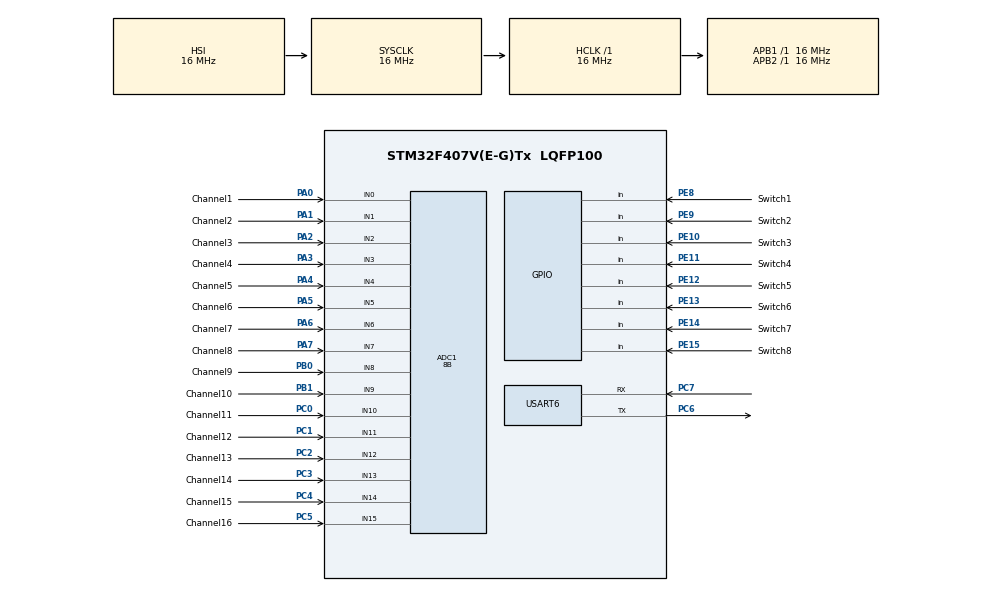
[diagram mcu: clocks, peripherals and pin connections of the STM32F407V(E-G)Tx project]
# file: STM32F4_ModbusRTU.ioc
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ADC1.Channel-0\#ChannelRegularConversion=ADC_CHANNEL_0
ADC1.Channel-1\#ChannelRegularConversion=ADC_CHANNEL_1
ADC1.Channel-10\#ChannelRegularConversion=ADC_CHANNEL_10
ADC1.Channel-11\#ChannelRegularConversion=ADC_CHANNEL_11
ADC1.Channel-12\#ChannelRegularConversion=ADC_CHANNEL_12
ADC1.Channel-13\#ChannelRegularConversion=ADC_CHANNEL_13
ADC1.Channel-14\#ChannelRegularConversion=ADC_CHANNEL_14
ADC1.Channel-15\#ChannelRegularConversion=ADC_CHANNEL_15
ADC1.Channel-2\#ChannelRegularConversion=ADC_CHANNEL_2
ADC1.Channel-3\#ChannelRegularConversion=ADC_CHANNEL_3
ADC1.Channel-4\#ChannelRegularConversion=ADC_CHANNEL_4
ADC1.Channel-5\#ChannelRegularConversion=ADC_CHANNEL_5
ADC1.Channel-6\#ChannelRegularConversion=ADC_CHANNEL_6
ADC1.Channel-7\#ChannelRegularConversion=ADC_CHANNEL_7
ADC1.Channel-8\#ChannelRegularConversion=ADC_CHANNEL_8
ADC1.Channel-9\#ChannelRegularConversion=ADC_CHANNEL_9
ADC1.ClockPrescaler=ADC_CLOCK_SYNC_PCLK_DIV8
ADC1.ContinuousConvMode=ENABLE
ADC1.DMAContinuousRequests=ENABLE
ADC1.NbrOfConversion=16
ADC1.NbrOfConversionFlag=1
ADC1.Rank-0\#ChannelRegularConversion=1
ADC1.Rank-1\#ChannelRegularConversion=2
ADC1.Rank-10\#ChannelRegularConversion=11
ADC1.Rank-11\#ChannelRegularConversion=12
ADC1.Rank-12\#ChannelRegularConversion=13
ADC1.Rank-13\#ChannelRegularConversion=14
ADC1.Rank-14\#ChannelRegularConversion=15
ADC1.Rank-15\#ChannelRegularConversion=16
ADC1.Rank-2\#ChannelRegularConversion=3
ADC1.Rank-3\#ChannelRegularConversion=4
ADC1.Rank-4\#ChannelRegularConversion=5
ADC1.Rank-5\#ChannelRegularConversion=6
ADC1.Rank-6\#ChannelRegularConversion=7
ADC1.Rank-7\#ChannelRegularConversion=8
ADC1.Rank-8\#ChannelRegularConversion=9
ADC1.Rank-9\#ChannelRegularConversion=10
ADC1.Resolution=ADC_RESOLUTION_8B
ADC1.SamplingTime-0\#ChannelRegularConversion=ADC_SAMPLETIME_480CYCLES
ADC1.SamplingTime-1\#ChannelRegularConversion=ADC_SAMPLETIME_480CYCLES
ADC1.SamplingTime-10\#ChannelRegularConversion=ADC_SAMPLETIME_480CYCLES
ADC1.SamplingTime-11\#ChannelRegularConversion=ADC_SAMPLETIME_480CYCLES
ADC1.SamplingTime-12\#ChannelRegularConversion=ADC_SAMPLETIME_480CYCLES
ADC1.SamplingTime-13\#ChannelRegularConversion=ADC_SAMPLETIME_480CYCLES
ADC1.SamplingTime-14\#ChannelRegularConversion=ADC_SAMPLETIME_480CYCLES
ADC1.SamplingTime-15\#ChannelRegularConversion=ADC_SAMPLETIME_480CYCLES
ADC1.SamplingTime-2\#ChannelRegularConversion=ADC_SAMPLETIME_480CYCLES
ADC1.SamplingTime-3\#ChannelRegularConversion=ADC_SAMPLETIME_480CYCLES
ADC1.SamplingTime-4\#ChannelRegularConversion=ADC_SAMPLETIME_480CYCLES
ADC1.SamplingTime-5\#ChannelRegularConversion=ADC_SAMPLETIME_480CYCLES
ADC1.SamplingTime-6\#ChannelRegularConversion=ADC_SAMPLETIME_480CYCLES
ADC1.SamplingTime-7\#ChannelRegularConversion=ADC_SAMPLETIME_480CYCLES
ADC1.SamplingTime-8\#ChannelRegularConversion=ADC_SAMPLETIME_480CYCLES
ADC1.SamplingTime-9\#ChannelRegularConversion=ADC_SAMPLETIME_480CYCLES
ADC1.ScanConvMode=ENABLE
ADC1.master=1
Dma.ADC1.1.Direction=DMA_PERIPH_TO_MEMORY
Dma.ADC1.1.FIFOMode=DMA_FIFOMODE_DISABLE
Dma.ADC1.1.Instance=DMA2_Stream0
Dma.ADC1.1.MemDataAlignment=DMA_MDATAALIGN_BYTE
Dma.ADC1.1.MemInc=DMA_MINC_ENABLE
Dma.ADC1.1.Mode=DMA_CIRCULAR
Dma.ADC1.1.PeriphDataAlignment=DMA_PDATAALIGN_BYTE
Dma.ADC1.1.PeriphInc=DMA_PINC_DISABLE
Dma.ADC1.1.Priority=DMA_PRIORITY_LOW
Dma.Request0=USART6_RX
Dma.Request1=ADC1
Dma.USART6_RX.0.Direction=DMA_PERIPH_TO_MEMORY
Dma.USART6_RX.0.FIFOMode=DMA_FIFOMODE_DISABLE
Dma.USART6_RX.0.Instance=DMA2_Stream1
Dma.USART6_RX.0.MemDataAlignment=DMA_MDATAALIGN_BYTE
Dma.USART6_RX.0.MemInc=DMA_MINC_ENABLE
Dma.USART6_RX.0.Mode=DMA_CIRCULAR
Dma.USART6_RX.0.PeriphDataAlignment=DMA_PDATAALIGN_BYTE
Dma.USART6_RX.0.PeriphInc=DMA_PINC_DISABLE
Dma.USART6_RX.0.Priority=DMA_PRIORITY_LOW
FREERTOS.Tasks01=ModbusTransTask,0,128,ModbusTransThread,Default,NULL,Dynamic,NULL,NULL;ModbusSetTask,0,128,ModbusSetThread,Default,NULL,Dynamic,NULL,NULL
Mcu.Family=STM32F4
Mcu.Name=STM32F407V(E-G)Tx
Mcu.Package=LQFP100
NVIC.DMA2_Stream0_IRQn=true\:5\:0\:false\:false\:true\:true\:false\:true
NVIC.DMA2_Stream1_IRQn=true\:5\:0\:false\:false\:true\:true\:false\:true
NVIC.PriorityGroup=NVIC_PRIORITYGROUP_4
NVIC.USART6_IRQn=true\:5\:0\:false\:false\:true\:true\:true\:true
PA0-WKUP.GPIO_Label=Channel1
PA0-WKUP.Signal=ADCx_IN0
PA1.GPIO_Label=Channel2
PA1.Signal=ADCx_IN1
PA2.GPIO_Label=Channel3
PA2.Signal=ADCx_IN2
PA3.GPIO_Label=Channel4
PA3.Signal=ADCx_IN3
PA4.GPIO_Label=Channel5
PA4.Signal=ADCx_IN4
PA5.GPIO_Label=Channel6
PA5.Signal=ADCx_IN5
PA6.GPIO_Label=Channel7
PA6.Signal=ADCx_IN6
PA7.GPIO_Label=Channel8
PA7.Signal=ADCx_IN7
PB0.GPIO_Label=Channel9
PB0.Signal=ADCx_IN8
PB1.GPIO_Label=Channel10
PB1.Signal=ADCx_IN9
PC0.GPIO_Label=Channel11
PC0.Signal=ADCx_IN10
PC1.GPIO_Label=Channel12
PC1.Signal=ADCx_IN11
PC2.GPIO_Label=Channel13
PC2.Signal=ADCx_IN12
PC3.GPIO_Label=Channel14
PC3.Signal=ADCx_IN13
PC4.GPIO_Label=Channel15
PC4.Signal=ADCx_IN14
PC5.GPIO_Label=Channel16
PC5.Signal=ADCx_IN15
PC6.Mode=Asynchronous
PC6.Signal=USART6_TX
PC7.Mode=Asynchronous
PC7.Signal=USART6_RX
PE10.GPIO_Label=Switch3
PE10.Signal=GPIO_Input
PE11.GPIO_Label=Switch4
PE11.Signal=GPIO_Input
PE12.GPIO_Label=Switch5
PE12.Signal=GPIO_Input
PE13.GPIO_Label=Switch6
PE13.Signal=GPIO_Input
PE14.GPIO_Label=Switch7
PE14.Signal=GPIO_Input
PE15.GPIO_Label=Switch8
PE15.Signal=GPIO_Input
PE8.GPIO_Label=Switch1
PE8.Signal=GPIO_Input
PE9.GPIO_Label=Switch2
PE9.Signal=GPIO_Input
ProjectManager.HeapSize=0x200
ProjectManager.StackSize=0x400
ProjectManager.TargetToolchain=STM32CubeIDE
RCC.AHBFreq_Value=16000000
RCC.APB1Freq_Value=16000000
RCC.APB2Freq_Value=16000000
RCC.CortexFreq_Value=16000000
RCC.HSE_VALUE=25000000
RCC.HSI_VALUE=16000000
RCC.LSE_VALUE=32768
RCC.SYSCLKFreq_VALUE=16000000
RCC.VCOOutputFreq_Value=192000000
SH.ADCx_IN0.0=ADC1_IN0,IN0
SH.ADCx_IN1.0=ADC1_IN1,IN1
SH.ADCx_IN10.0=ADC1_IN10,IN10
SH.ADCx_IN11.0=ADC1_IN11,IN11
SH.ADCx_IN12.0=ADC1_IN12,IN12
SH.ADCx_IN13.0=ADC1_IN13,IN13
SH.ADCx_IN14.0=ADC1_IN14,IN14
SH.ADCx_IN15.0=ADC1_IN15,IN15
SH.ADCx_IN2.0=ADC1_IN2,IN2
SH.ADCx_IN3.0=ADC1_IN3,IN3
SH.ADCx_IN4.0=ADC1_IN4,IN4
SH.ADCx_IN5.0=ADC1_IN5,IN5
SH.ADCx_IN6.0=ADC1_IN6,IN6
SH.ADCx_IN7.0=ADC1_IN7,IN7
SH.ADCx_IN8.0=ADC1_IN8,IN8
SH.ADCx_IN9.0=ADC1_IN9,IN9
USART6.VirtualMode=VM_ASYNC
VP_FREERTOS_VS_CMSIS_V1.Mode=CMSIS_V1
board=custom

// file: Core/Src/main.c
/* USER CODE BEGIN Header */
/**
  ******************************************************************************
  * @file           : main.c
  * @brief          : Main program body
  ******************************************************************************
  * @attention
  *
  * <h2><center>&copy; Copyright (c) 2020 STMicroelectronics.
  * All rights reserved.</center></h2>
  *
  * This software component is licensed by ST under BSD 3-Clause license,
  * the "License"; You may not use this file except in compliance with the
  * License. You may obtain a copy of the License at:
  *                        opensource.org/licenses/BSD-3-Clause
  *
  ******************************************************************************
  */
/* USER CODE END Header */

#include "main.h"
#include "cmsis_os.h"

/* USER CODE BEGIN Includes */
#include "modbus.h"
#include "Delay.h"
#include <stdio.h>
#include <math.h>
/* USER CODE END Includes */

/* USER CODE BEGIN PTD */

uint8_t rxbuffer[8];

/* USER CODE END PTD */

/* USER CODE BEGIN PD */
typedef enum
{
  Switch_Off    = 0x00U,
  Switch_On       = 0x01U,
} SwitchStatus;
/* USER CODE END PD */

ADC_HandleTypeDef hadc1;
DMA_HandleTypeDef hdma_adc1;

UART_HandleTypeDef huart6;
DMA_HandleTypeDef hdma_usart6_rx;

osThreadId ModbusTransTaskHandle;
osThreadId ModbusSetTaskHandle;
/* USER CODE BEGIN PV */
uint8_t SLAVEID[8];
uint8_t ADCVALUE[16];
uint8_t slaveID = 1;
uint8_t SwitchValue[8];
/* USER CODE END PV */

void SystemClock_Config(void);
static void MX_GPIO_Init(void);
static void MX_DMA_Init(void);
static void MX_USART6_UART_Init(void);
static void MX_ADC1_Init(void);
void ModbusTransThread(void const * argument);
void ModbusSetThread(void const * argument);

/* USER CODE BEGIN 0 */
#ifdef __cplusplus
 extern "C" {
#endif

 int __io_putchar(int ch)
 {
     HAL_UART_Transmit(&huart6, (uint8_t *)&ch, 1, 0xFFFF);
     return ch;
 }

#ifdef __cplusplus
}
#endif
/* USER CODE END 0 */

int main(void)
{

  /* MCU Configuration--------------------------------------------------------*/

  /* Reset of all peripherals, Initializes the Flash interface and the Systick. */
  HAL_Init();

  /* Configure the system clock */
  SystemClock_Config();

  /* Initialize all configured peripherals */
  MX_GPIO_Init();
  MX_DMA_Init();
  MX_USART6_UART_Init();
  MX_ADC1_Init();
  /* USER CODE BEGIN 2 */
  printf("System start\r\n");
  delay_init(16);

  //TODO:
  SwitchValue[0] = HAL_GPIO_ReadPin(GPIOE, Switch1_Pin);
  SwitchValue[1] = HAL_GPIO_ReadPin(GPIOE, Switch2_Pin);
  SwitchValue[2] = HAL_GPIO_ReadPin(GPIOE, Switch3_Pin);
  SwitchValue[3] = HAL_GPIO_ReadPin(GPIOE, Switch4_Pin);
  SwitchValue[4] = HAL_GPIO_ReadPin(GPIOE, Switch5_Pin);
  SwitchValue[5] = HAL_GPIO_ReadPin(GPIOE, Switch6_Pin);
  SwitchValue[6] = HAL_GPIO_ReadPin(GPIOE, Switch7_Pin);
  SwitchValue[7] = HAL_GPIO_ReadPin(GPIOE, Switch8_Pin);

  //TODO:
//  for(uint8_t i = 0; i <8; i++)
//  {
//	  slaveID += SwitchValue[i] * pow(2,i);
//  }

  HAL_ADC_Start_DMA(&hadc1, (uint32_t*)&ADCVALUE, 16);

  delay_ms(100);

 //ADCstatus =  HAL_ADC_Stop_DMA(&hadc1);

  HAL_UART_Receive_DMA(&huart6, rxbuffer, 8);

  /* USER CODE END 2 */

  /* Create the thread(s) */
  /* definition and creation of ModbusTransTask */
  osThreadDef(ModbusTransTask, ModbusTransThread, osPriorityNormal, 0, 128);
  ModbusTransTaskHandle = osThreadCreate(osThread(ModbusTransTask), NULL);

  /* definition and creation of ModbusSetTask */
  osThreadDef(ModbusSetTask, ModbusSetThread, osPriorityNormal, 0, 128);
  ModbusSetTaskHandle = osThreadCreate(osThread(ModbusSetTask), NULL);

  /* USER CODE BEGIN RTOS_THREADS */
  ModBus_Init();
  ModBus_SetAddress(slaveID);
  /* add threads, ... */
  /* USER CODE END RTOS_THREADS */

  /* Start scheduler */
  osKernelStart();

  /* We should never get here as control is now taken by the scheduler */
  /* Infinite loop */
  while (1)
  {

  }
}

void SystemClock_Config(void)
{
  RCC_OscInitTypeDef RCC_OscInitStruct = {0};
  RCC_ClkInitTypeDef RCC_ClkInitStruct = {0};

  /** Configure the main internal regulator output voltage
  */
  __HAL_RCC_PWR_CLK_ENABLE();
  __HAL_PWR_VOLTAGESCALING_CONFIG(PWR_REGULATOR_VOLTAGE_SCALE1);
  /** Initializes the CPU, AHB and APB busses clocks
  */
  RCC_OscInitStruct.OscillatorType = RCC_OSCILLATORTYPE_HSI;
  RCC_OscInitStruct.HSIState = RCC_HSI_ON;
  RCC_OscInitStruct.HSICalibrationValue = RCC_HSICALIBRATION_DEFAULT;
  RCC_OscInitStruct.PLL.PLLState = RCC_PLL_NONE;
  if (HAL_RCC_OscConfig(&RCC_OscInitStruct) != HAL_OK)
  {
    Error_Handler();
  }
  /** Initializes the CPU, AHB and APB busses clocks
  */
  RCC_ClkInitStruct.ClockType = RCC_CLOCKTYPE_HCLK|RCC_CLOCKTYPE_SYSCLK
                              |RCC_CLOCKTYPE_PCLK1|RCC_CLOCKTYPE_PCLK2;
  RCC_ClkInitStruct.SYSCLKSource = RCC_SYSCLKSOURCE_HSI;
  RCC_ClkInitStruct.AHBCLKDivider = RCC_SYSCLK_DIV1;
  RCC_ClkInitStruct.APB1CLKDivider = RCC_HCLK_DIV1;
  RCC_ClkInitStruct.APB2CLKDivider = RCC_HCLK_DIV1;

  if (HAL_RCC_ClockConfig(&RCC_ClkInitStruct, FLASH_LATENCY_0) != HAL_OK)
  {
    Error_Handler();
  }
}

static void MX_ADC1_Init(void)
{

  ADC_ChannelConfTypeDef sConfig = {0};

  /** Configure the global features of the ADC (Clock, Resolution, Data Alignment and number of conversion)
  */
  hadc1.Instance = ADC1;
  hadc1.Init.ClockPrescaler = ADC_CLOCK_SYNC_PCLK_DIV8;
  hadc1.Init.Resolution = ADC_RESOLUTION_8B;
  hadc1.Init.ScanConvMode = ENABLE;
  hadc1.Init.ContinuousConvMode = ENABLE;
  hadc1.Init.DiscontinuousConvMode = DISABLE;
  hadc1.Init.ExternalTrigConvEdge = ADC_EXTERNALTRIGCONVEDGE_NONE;
  hadc1.Init.ExternalTrigConv = ADC_SOFTWARE_START;
  hadc1.Init.DataAlign = ADC_DATAALIGN_RIGHT;
  hadc1.Init.NbrOfConversion = 16;
  hadc1.Init.DMAContinuousRequests = ENABLE;
  hadc1.Init.EOCSelection = ADC_EOC_SINGLE_CONV;
  if (HAL_ADC_Init(&hadc1) != HAL_OK)
  {
    Error_Handler();
  }
  /** Configure for the selected ADC regular channel its corresponding rank in the sequencer and its sample time.
  */
  sConfig.Channel = ADC_CHANNEL_0;
  sConfig.Rank = 1;
  sConfig.SamplingTime = ADC_SAMPLETIME_480CYCLES;
  if (HAL_ADC_ConfigChannel(&hadc1, &sConfig) != HAL_OK)
  {
    Error_Handler();
  }
  /** Configure for the selected ADC regular channel its corresponding rank in the sequencer and its sample time.
  */
  sConfig.Channel = ADC_CHANNEL_1;
  sConfig.Rank = 2;
  if (HAL_ADC_ConfigChannel(&hadc1, &sConfig) != HAL_OK)
  {
    Error_Handler();
  }
  /** Configure for the selected ADC regular channel its corresponding rank in the sequencer and its sample time.
  */
  sConfig.Channel = ADC_CHANNEL_2;
  sConfig.Rank = 3;
  if (HAL_ADC_ConfigChannel(&hadc1, &sConfig) != HAL_OK)
  {
    Error_Handler();
  }
  /** Configure for the selected ADC regular channel its corresponding rank in the sequencer and its sample time.
  */
  sConfig.Channel = ADC_CHANNEL_3;
  sConfig.Rank = 4;
  if (HAL_ADC_ConfigChannel(&hadc1, &sConfig) != HAL_OK)
  {
    Error_Handler();
  }
  /** Configure for the selected ADC regular channel its corresponding rank in the sequencer and its sample time.
  */
  sConfig.Channel = ADC_CHANNEL_4;
  sConfig.Rank = 5;
  if (HAL_ADC_ConfigChannel(&hadc1, &sConfig) != HAL_OK)
  {
    Error_Handler();
  }
  /** Configure for the selected ADC regular channel its corresponding rank in the sequencer and its sample time.
  */
  sConfig.Channel = ADC_CHANNEL_5;
  sConfig.Rank = 6;
  if (HAL_ADC_ConfigChannel(&hadc1, &sConfig) != HAL_OK)
  {
    Error_Handler();
  }
  /** Configure for the selected ADC regular channel its corresponding rank in the sequencer and its sample time.
  */
  sConfig.Channel = ADC_CHANNEL_6;
  sConfig.Rank = 7;
  if (HAL_ADC_ConfigChannel(&hadc1, &sConfig) != HAL_OK)
  {
    Error_Handler();
  }
  /** Configure for the selected ADC regular channel its corresponding rank in the sequencer and its sample time.
  */
  sConfig.Channel = ADC_CHANNEL_7;
  sConfig.Rank = 8;
  if (HAL_ADC_ConfigChannel(&hadc1, &sConfig) != HAL_OK)
  {
    Error_Handler();
  }
  /** Configure for the selected ADC regular channel its corresponding rank in the sequencer and its sample time.
  */
  sConfig.Channel = ADC_CHANNEL_8;
  sConfig.Rank = 9;
  if (HAL_ADC_ConfigChannel(&hadc1, &sConfig) != HAL_OK)
  {
    Error_Handler();
  }
  /** Configure for the selected ADC regular channel its corresponding rank in the sequencer and its sample time.
  */
  sConfig.Channel = ADC_CHANNEL_9;
  sConfig.Rank = 10;
  if (HAL_ADC_ConfigChannel(&hadc1, &sConfig) != HAL_OK)
  {
    Error_Handler();
  }
  /** Configure for the selected ADC regular channel its corresponding rank in the sequencer and its sample time.
  */
  sConfig.Channel = ADC_CHANNEL_10;
  sConfig.Rank = 11;
  if (HAL_ADC_ConfigChannel(&hadc1, &sConfig) != HAL_OK)
  {
    Error_Handler();
  }
  /** Configure for the selected ADC regular channel its corresponding rank in the sequencer and its sample time.
  */
  sConfig.Channel = ADC_CHANNEL_11;
  sConfig.Rank = 12;
  if (HAL_ADC_ConfigChannel(&hadc1, &sConfig) != HAL_OK)
  {
    Error_Handler();
  }
  /** Configure for the selected ADC regular channel its corresponding rank in the sequencer and its sample time.
  */
  sConfig.Channel = ADC_CHANNEL_12;
  sConfig.Rank = 13;
  if (HAL_ADC_ConfigChannel(&hadc1, &sConfig) != HAL_OK)
  {
    Error_Handler();
  }
  /** Configure for the selected ADC regular channel its corresponding rank in the sequencer and its sample time.
  */
  sConfig.Channel = ADC_CHANNEL_13;
  sConfig.Rank = 14;
  if (HAL_ADC_ConfigChannel(&hadc1, &sConfig) != HAL_OK)
  {
    Error_Handler();
  }
  /** Configure for the selected ADC regular channel its corresponding rank in the sequencer and its sample time.
  */
  sConfig.Channel = ADC_CHANNEL_14;
  sConfig.Rank = 15;
  if (HAL_ADC_ConfigChannel(&hadc1, &sConfig) != HAL_OK)
  {
    Error_Handler();
  }
  /** Configure for the selected ADC regular channel its corresponding rank in the sequencer and its sample time.
  */
  sConfig.Channel = ADC_CHANNEL_15;
  sConfig.Rank = 16;
  if (HAL_ADC_ConfigChannel(&hadc1, &sConfig) != HAL_OK)
  {
    Error_Handler();
  }

}

static void MX_USART6_UART_Init(void)
{

  huart6.Instance = USART6;
  huart6.Init.BaudRate = 115200;
  huart6.Init.WordLength = UART_WORDLENGTH_8B;
  huart6.Init.StopBits = UART_STOPBITS_1;
  huart6.Init.Parity = UART_PARITY_NONE;
  huart6.Init.Mode = UART_MODE_TX_RX;
  huart6.Init.HwFlowCtl = UART_HWCONTROL_NONE;
  huart6.Init.OverSampling = UART_OVERSAMPLING_16;
  if (HAL_UART_Init(&huart6) != HAL_OK)
  {
    Error_Handler();
  }

}

static void MX_DMA_Init(void)
{

  /* DMA controller clock enable */
  __HAL_RCC_DMA2_CLK_ENABLE();

  /* DMA interrupt init */
  /* DMA2_Stream0_IRQn interrupt configuration */
  HAL_NVIC_SetPriority(DMA2_Stream0_IRQn, 5, 0);
  HAL_NVIC_EnableIRQ(DMA2_Stream0_IRQn);
  /* DMA2_Stream1_IRQn interrupt configuration */
  HAL_NVIC_SetPriority(DMA2_Stream1_IRQn, 5, 0);
  HAL_NVIC_EnableIRQ(DMA2_Stream1_IRQn);

}

static void MX_GPIO_Init(void)
{
  GPIO_InitTypeDef GPIO_InitStruct = {0};

  /* GPIO Ports Clock Enable */
  __HAL_RCC_GPIOC_CLK_ENABLE();
  __HAL_RCC_GPIOA_CLK_ENABLE();
  __HAL_RCC_GPIOB_CLK_ENABLE();
  __HAL_RCC_GPIOE_CLK_ENABLE();

  /*Configure GPIO pins : Switch1_Pin Switch2_Pin Switch3_Pin Switch4_Pin
                           Switch5_Pin Switch6_Pin Switch7_Pin Switch8_Pin */
  GPIO_InitStruct.Pin = Switch1_Pin|Switch2_Pin|Switch3_Pin|Switch4_Pin
                          |Switch5_Pin|Switch6_Pin|Switch7_Pin|Switch8_Pin;
  GPIO_InitStruct.Mode = GPIO_MODE_INPUT;
  GPIO_InitStruct.Pull = GPIO_NOPULL;
  HAL_GPIO_Init(GPIOE, &GPIO_InitStruct);

}

/* USER CODE BEGIN 4 */
void HAL_UART_RxCpltCallback(UART_HandleTypeDef *huart)
{
 /* Prevent unused argument(s) compilation warning */
 UNUSED(huart);
 /* NOTE: This function should not be modified, when the callback is needed,
          the HAL_UART_RxCpltCallback could be implemented in the user file
  */
 HAL_UART_Receive_DMA(&huart6, rxbuffer, 8);
	for(int i=0;i<8;i++)
	{
		 osMessagePut(ModBusInHandle,rxbuffer[i],0);
	}
}

/* USER CODE END 4 */

void ModbusTransThread(void const * argument)
{
  /* USER CODE BEGIN 5 */
	  uint8_t buf[256]; // buffer, where we collect output data
	  uint8_t c = 0; // counter for buffer fill
	  uint8_t count = 0;
  /* Infinite loop */
  for(;;)
  {
	 // ModBus_SetRegister(0,5+1);

    osEvent evt = osMessageGet(ModBusOutHandle,200); // wait here 200 tick
    if (evt.status == osEventMessage)
      {

        buf[c++]=(uint8_t) evt.value.v;
      }
    if (evt.status == osEventTimeout)
      {
        if( (c > 0) && (c < 254) ) // ok, something in buffer exist, lets send it
        {
        	HAL_StatusTypeDef AA = HAL_UART_Transmit(&huart6, buf, c, 50); // by USB-CDC
        }
      c=0;
      }

    //osDelay(1);
  }
  /* USER CODE END 5 */
}

void ModbusSetThread(void const * argument)
{
  /* USER CODE BEGIN ModbusSetThread */
  /* Infinite loop */
  for(;;)
  {

	for(int i=0;i<16;i++)
	{
		   ModBus_SetRegister(i,ADCVALUE[i]);
	}

    //osDelay(1);
  }
  /* USER CODE END ModbusSetThread */
}

void Error_Handler(void)
{
}

/************************ (C) COPYRIGHT STMicroelectronics *****END OF FILE****/
